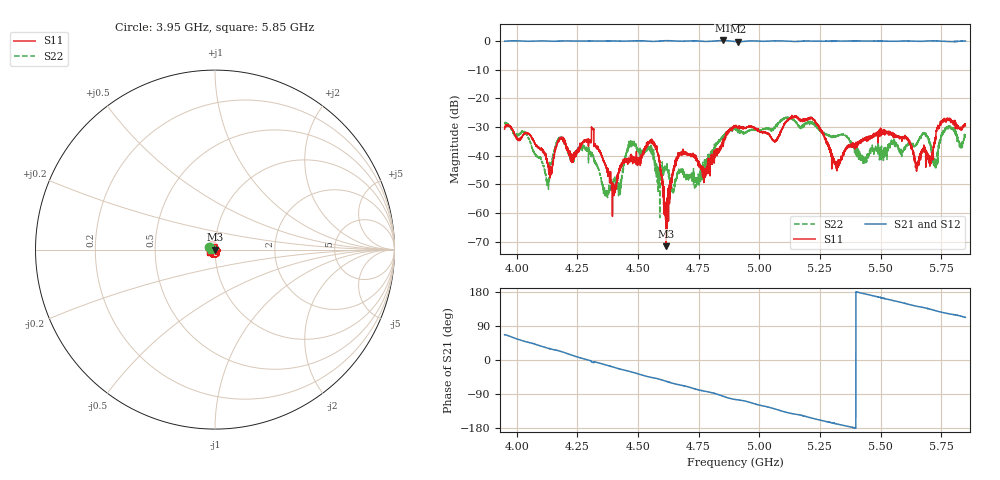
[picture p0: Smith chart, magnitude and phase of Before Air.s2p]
# GHZ S RI R 50.000000000000
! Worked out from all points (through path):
!   4501 points, 3.95 GHz to 5.85 GHz, reference 50 ohm
!   highest |S21| = 0.13 dB at 4.851 GHz (marker M1); lowest = -0.3 dB at 4.912 GHz (marker M2)
!   group delay of S21, straight-line fit = 454 ps
!   lowest |S11| = -71.6 dB at 4.615 GHz (marker M3), VSWR 1.00, Z = 50 - j0.0195 ohm
!   |S11| at or under -10 dB: start of sweep to end of sweep
!   |S22| runs from -61.6 to -26.5 dB; largest |S21 - S12| = 0.07
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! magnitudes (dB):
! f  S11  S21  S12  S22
! 3.95 GHz  -30.8  -0.1  -0.2  -28.9
! 4.126 GHz  -42.9  -0.1  -0.1  -48.4
! 4.175 GHz  -34.3  -0.1  -0.1  -33.7
! 4.267 GHz  -35.8  -0.1  -0.1  -36.9
! 4.317 GHz  -30.6  -0.1  -0.1  -41.5
! 4.365 GHz  -43.4  -0.1  -0.1  -54.1
! 4.401 GHz  -53.9  0.0  -0.1  -48.7
! 4.475 GHz  -40.5  0.0  0.0  -36.6
! 4.584 GHz  -40.0  -0.1  -0.2  -49.7
! 4.615 GHz  -71.6  0.1  0.0  -44.5
! 4.671 GHz  -39.5  -0.1  -0.1  -45.8
! 4.774 GHz  -45.8  -0.2  -0.3  -44.2
! 4.851 GHz  -34.7  0.1  0.1  -33.8
! 4.9 GHz  -29.8  -0.2  -0.2  -30.9
! 4.912 GHz  -30.0  -0.3  -0.2  -31.0
! 5.217 GHz  -27.0  -0.1  -0.1  -28.4
! 5.321 GHz  -42.4  0.0  0.0  -33.3
! 5.534 GHz  -31.8  -0.1  -0.1  -36.5
! 5.65 GHz  -43.0  -0.1  -0.2  -36.0
! 5.724 GHz  -35.9  0.0  0.0  -43.0
! 5.757 GHz  -28.0  -0.1  -0.2  -32.7
! 5.85 GHz  -29.6  -0.1  0.0  -32.8
